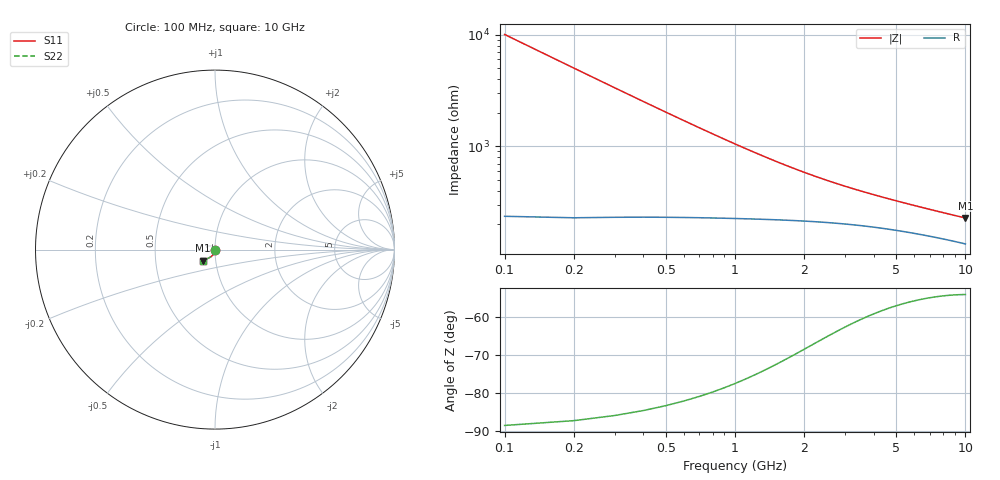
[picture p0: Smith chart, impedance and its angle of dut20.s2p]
! Touchstone file exported from HFSS 2024.1.0
!  File:  C:/UserFiles/LocalFiles/RDL_TSV_Batchsim/temp_TSV1_20_1778746959.aedt
!  Generated:  04:26:52 PM May 14, 2026
!  Design:  TSV1
!  Project:  temp_TSV1_20_1778746959
!  Setup:  Setup1
!  Solution:  Sweep
! Variables:
!  dtsv = 17.6um
!  hbump = 3um
!  htsv = 74.23um
!  lrdl = 252.1521522um
!  p = 40
!  p1 = 41.64um
!  t = 500um
!  trdl = 3um
!  wrdl = 24.89489489um
# GHz S MA R 50.000000
! Terminal data exported
! Port[1] = TSV22_T1
! Port[2] = TSV22_T2
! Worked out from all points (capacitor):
!   100 points, 100 MHz to 10 GHz, reference 50 ohm
!   read as one part in shunt: C = 159 fF near 100 MHz
!   lowest |Z| = 228 ohm at 10 GHz (marker M1)
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0.1  0.002257 -89.5  0.9999 -0.2  0.9999 -0.2  0.002257 -89.5
! Gamma 0 0 0 0
! Port Impedance 50 0 50 0
0.2  0.004535 -91.8  0.9997 -0.3  0.9997 -0.3  0.004535 -91.8
0.3  0.0068 -93.7  0.9993 -0.5  0.9993 -0.5  0.0068 -93.7
0.4  0.009042 -95.4  0.9989 -0.6  0.9989 -0.6  0.009042 -95.4
0.5  0.01125 -97.0  0.9983 -0.8  0.9983 -0.8  0.01125 -97.0
0.6  0.01343 -98.5  0.9977 -0.9  0.9977 -0.9  0.01343 -98.5
0.7  0.01557 -100.0  0.997 -1.0  0.997 -1.0  0.01557 -100.0
0.8  0.01766 -101.4  0.9962 -1.2  0.9962 -1.2  0.01766 -101.4
0.9  0.01971 -102.8  0.9953 -1.3  0.9953 -1.3  0.01971 -102.8
1.1  0.02364 -105.5  0.9934 -1.6  0.9934 -1.6  0.02364 -105.5
1.4  0.02911 -109.1  0.9903 -1.9  0.9903 -1.9  0.02911 -109.1
1.6  0.03247 -111.4  0.9881 -2.1  0.9881 -2.1  0.03247 -111.4
1.8  0.03561 -113.4  0.9858 -2.3  0.9858 -2.3  0.03561 -113.4
2.1  0.03991 -116.2  0.9824 -2.5  0.9824 -2.5  0.03991 -116.2
2.5  0.04498 -119.4  0.9781 -2.8  0.9781 -2.8  0.04498 -119.4
2.9  0.04941 -122.0  0.9741 -3.1  0.9741 -3.1  0.04941 -122.0
3.4  0.05424 -124.7  0.9696 -3.3  0.9696 -3.3  0.05424 -124.7
4.2  0.06075 -128.0  0.9633 -3.7  0.9633 -3.7  0.06075 -128.0
5.1  0.06685 -130.7  0.9573 -4.1  0.9573 -4.1  0.06686 -130.7
6.7  0.07573 -133.8  0.9489 -4.7  0.9489 -4.7  0.07573 -133.8
8.4  0.0834 -135.9  0.9419 -5.3  0.9419 -5.3  0.0834 -135.9
10  0.08953 -137.2  0.9366 -5.8  0.9366 -5.8  0.08953 -137.2
